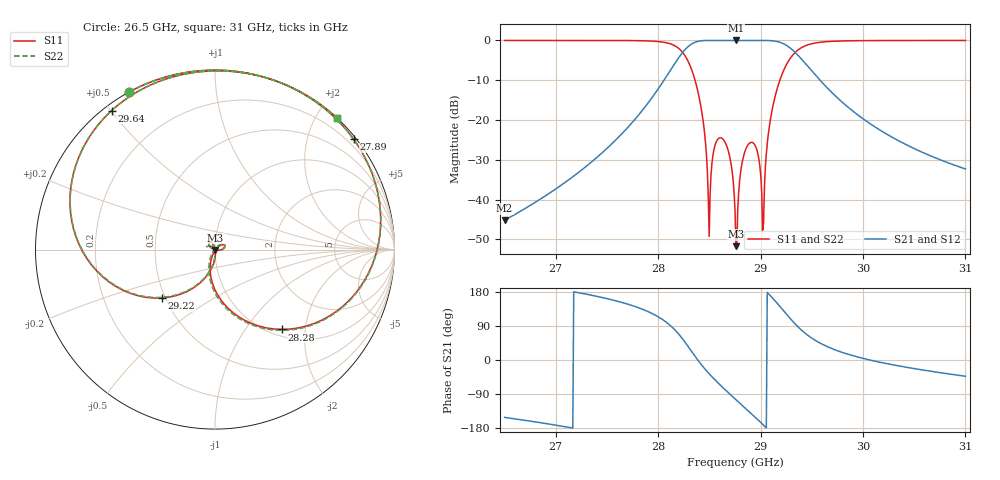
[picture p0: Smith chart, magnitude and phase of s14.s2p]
! Touchstone file from project Ka_PF
! Exported from HFSS 15.0.0
! Variables:
!  AA = 0.34in
!  BB = 0.145in
!  M01 = 0.1659in
!  M11 = 0.2126in
!  M12 = 0.1115in
!  M22 = 0.2362in
!  PL = 0.3in
!  RR = 0.035in
!  TT = 0.04in
!Data is not renormalized
# GHZ S DB
! Modal data exported
! Port[1] = 1:1
! Port[2] = 2:1
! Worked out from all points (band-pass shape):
!   501 points, 26.5 GHz to 31 GHz, reference per port
!   highest |S21| = 0.00 dB at 28.76 GHz (marker M1); lowest = -45.2 dB at 26.5 GHz (marker M2)
!   |S21| within 3 dB of the highest: 28.24 GHz to 29.34 GHz (1.098 GHz wide, 3.81 % of centre)
!   lowest |S11| = -51.7 dB at 28.76 GHz (marker M3), VSWR 1.01
!   |S11| at or under -10 dB: 28.36 GHz to 29.19 GHz (828.4 MHz wide, 2.88 % of centre)
!   |S22| runs from -51.7 to 0.0 dB; largest |S21 - S12| = 2.6e-14
!   S11 on the Smith chart (normalised r, x): 26.5 GHz: 0.00, +0.59; 27.89 GHz: 0.06, +2.86; 28.28 GHz: 1.12, -1.50; 29.22 GHz: 0.48, -0.31; 29.64 GHz: 0.02, +0.50; 31 GHz: 0.00, +2.29
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26.5  -0.00 118.5  -45.18 -151.5  -45.18 -151.5  -0.00 118.5
! Gamma ! -0 419.682065007056 -0 419.682062760293
! Port Impedance 262.308116305091 0 262.307869329521 0
27.256  -0.00 85.9  -32.48 175.9  -32.48 175.9  -0.00 85.9
27.895  -0.11 38.5  -15.93 128.4  -15.93 128.4  -0.11 38.3
28.003  -0.28 23.6  -12.06 113.5  -12.06 113.5  -0.28 23.4
28.282  -4.73 -50.1  -1.78 39.5  -1.78 39.5  -4.73 -50.9
28.417  -16.61 -99.3  -0.10 -10.8  -0.10 -10.8  -16.61 -102.4
28.498  -49.24 -15.1  -0.00 -36.5  -0.00 -36.5  -49.24 122.2
28.552  -26.60 34.9  -0.01 -51.7  -0.01 -51.7  -26.60 41.6
28.624  -24.61 17.1  -0.02 -70.8  -0.02 -70.8  -24.61 21.3
28.705  -30.07 -4.1  -0.00 -91.3  -0.00 -91.3  -30.07 1.4
28.75  -42.57 -21.6  -0.00 -102.5  -0.00 -102.5  -42.57 -3.4
28.759  -51.70 -39.9  -0.00 -104.8  -0.00 -104.8  -51.70 10.5
28.822  -30.42 150.9  -0.00 -120.2  -0.00 -120.2  -30.42 148.5
28.894  -25.77 132.2  -0.01 -137.9  -0.01 -137.9  -25.77 132.0
28.966  -27.71 113.6  -0.01 -155.7  -0.01 -155.7  -27.71 114.8
29.029  -45.76 -71.9  -0.00 -172.0  -0.00 -172.0  -45.77 -91.7
29.092  -20.48 -98.5  -0.04 170.7  -0.04 170.7  -20.48 -100.1
29.218  -7.96 -137.6  -0.76 132.1  -0.76 132.1  -7.96 -138.2
29.506  -0.78 146.7  -7.84 56.6  -7.84 56.6  -0.78 146.5
29.641  -0.31 126.6  -11.66 36.6  -11.66 36.6  -0.31 126.5
30.253  -0.02 79.4  -23.86 -10.7  -23.86 -10.7  -0.02 79.3
31  -0.00 47.1  -32.29 -42.9  -32.29 -42.9  -0.00 47.1
